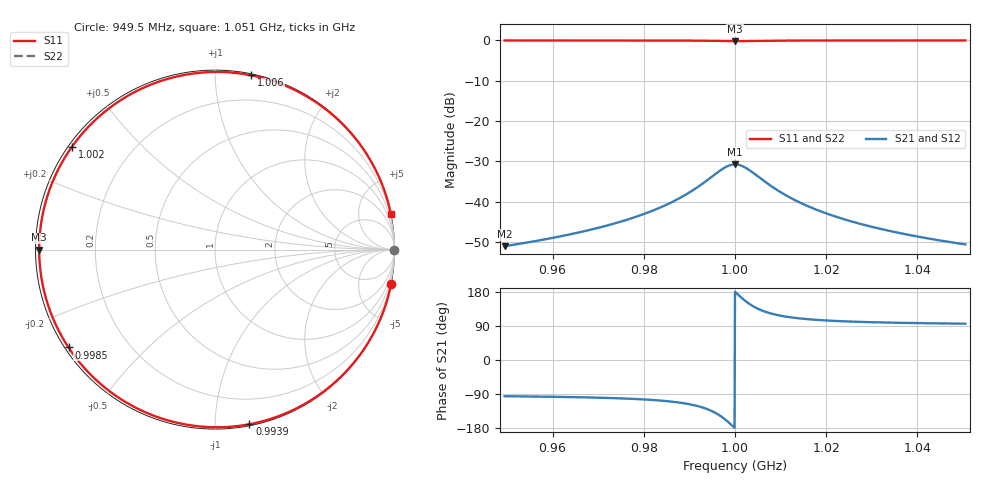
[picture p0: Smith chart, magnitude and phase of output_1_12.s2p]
! File generated for n1 = 1, n2 = 12
! b1 = 100.000000
! b2 = 0.021544
! Q0 = 10000.000000
! f0 = 1000000000.000000
! n = 1001
! rel_span = 10.000000
# Hz S RI R 50
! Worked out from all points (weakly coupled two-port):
!   1001 points, 949.5 MHz to 1.051 GHz, reference 50 ohm
!   highest |S21| = -30.73 dB at 1 GHz (marker M1); lowest = -51.0 dB at 949.5 MHz (marker M2)
!   lowest |S11| = -0.2 dB at 1 GHz (marker M3), VSWR 97.89, Z = 0.511 + j0 ohm
!   |S11| at or under -10 dB: nowhere
!   |S22| runs from 0.0 to 0.0 dB; largest |S21 - S12| = 0
!   S11 on the Smith chart (normalised r, x): 949.5 MHz: 0, -10; 993.9 MHz: 0.01, -1.22; 998.5 MHz: 0.01, -0.30; 1.002 GHz: 0.01, +0.32; 1.006 GHz: 0.01, +1.23; 1.051 GHz: 0.01, +9.86
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9.494892e8  0.9814 -0.191  -0.000273 -0.0028  -0.000273 -0.0028  1 -4.12e-05
9.663598e8  0.9578 -0.286  -0.000619 -0.0042  -0.000619 -0.0042  1 -6.16e-05
9.759569e8  0.9183 -0.3939  -0.0012 -0.00578  -0.0012 -0.00578  1 -8.49e-05
9.832304e8  0.8379 -0.5429  -0.00238 -0.00797  -0.00238 -0.00797  1 -0.000117
9.896958e8  0.6196 -0.78  -0.00558 -0.0114  -0.00558 -0.0114  0.9999 -0.000168
9.920193e8  0.437 -0.8931  -0.00826 -0.0131  -0.00826 -0.0131  0.9999 -0.000192
9.939387e8  0.1915 -0.9731  -0.0119 -0.0143  -0.0119 -0.0143  0.9998 -0.00021
9.964642e8  -0.3272 -0.9307  -0.0195 -0.0137  -0.0195 -0.0137  0.9997 -0.000201
9.974745e8  -0.583 -0.7925  -0.0232 -0.0116  -0.0232 -0.0116  0.9997 -0.000171
9.984847e8  -0.8161 -0.5452  -0.0267 -0.008  -0.0267 -0.008  0.9996 -0.000117
1e9  -0.9798 0  -0.0291 0  -0.0291 0  0.9996 0
1.000808e9  -0.9304 0.3087  -0.0283 0.00453  -0.0283 0.00453  0.9996 6.65e-05
1.001616e9  -0.7961 0.5743  -0.0264 0.00843  -0.0264 0.00843  0.9996 0.000124
1.002526e9  -0.5846 0.7913  -0.0233 0.0116  -0.0233 0.0116  0.9997 0.00017
1.003536e9  -0.3302 0.9295  -0.0195 0.0136  -0.0195 0.0136  0.9997 0.0002
1.004647e9  -0.0745 0.9863  -0.0158 0.0145  -0.0158 0.0145  0.9998 0.000212
1.006162e9  0.2015 0.9712  -0.0117 0.0143  -0.0117 0.0143  0.9998 0.000209
1.008082e9  0.4407 0.8913  -0.00821 0.0131  -0.00821 0.0131  0.9999 0.000192
1.010405e9  0.6193 0.7803  -0.00559 0.0115  -0.00559 0.0115  0.9999 0.000168
1.016871e9  0.8346 0.5478  -0.00243 0.00804  -0.00243 0.00804  1 0.000118
1.033741e9  0.9552 0.2945  -0.000658 0.00432  -0.000658 0.00432  1 6.34e-05
1.050511e9  0.9794 0.2007  -0.000302 0.00295  -0.000302 0.00295  1 4.32e-05
